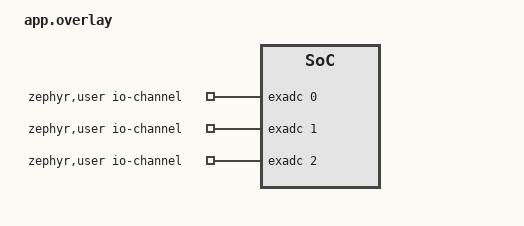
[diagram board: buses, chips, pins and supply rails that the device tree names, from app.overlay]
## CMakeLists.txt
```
# SPDX-License-Identifier: Apache-2.0

cmake_minimum_required(VERSION 3.20.0)

set(SUPPORT_BOARDS csk6_duomotai_devkit)
if(NOT ${BOARD} IN_LIST SUPPORT_BOARDS)
    message("Please choose one of the following boards:")
    foreach(item ${SUPPORT_BOARDS})
        message(STATUS ${item})
    endforeach()
    message(FATAL_ERROR "\nThe project does not support the ${BOARD}")
endif()

find_package(Zephyr HINTS $ENV{ZEPHYR_BASE})
project(exmcu_adc)

target_sources(app PRIVATE src/main.c)
```

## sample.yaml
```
sample:
  name: EXMCU ADC sample
tests:
  csk.samples.driver.exmcu_adc:
    platform_allow: csk6_duomotai_devkit
    tags: csk6
    build_only: true
```

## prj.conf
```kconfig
CONFIG_ADC=y
CONFIG_ADC_CSK6_CH32V003=y
CONFIG_I2C_CSK6=y
CONFIG_I2C=y
```

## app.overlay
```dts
/ {
    /**
    * 
    * external adc channel map
    *
    * CH0 --> PA2
    * CH1 --> PA1
    * CH2 --> PC4
    * CH3 --> PD2
    * CH4 --> PD3
    * CH5 --> PD5
    * CH6 --> PD6
    * CH7 --> PD4
    *
    */

    zephyr,user {
        /* this sample use ch0 ch1 ch2 */
        io-channels = <&exadc 0>, <&exadc 1>, <&exadc 2>;
    };
};
```

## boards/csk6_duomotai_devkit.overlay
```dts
/*
 * Copyright (c) 2023 Anhui(Shenzhen) Listenai Co., Ltd.
 *
 * SPDX-License-Identifier: Apache-2.0
 */
 
/ {
    /**
    * 
    * external adc channel map
    *
    * CH0 --> PA2
    * CH1 --> PA1
    * CH2 --> PC4
    * CH3 --> PD2
    * CH4 --> PD3
    * CH5 --> PD5
    * CH6 --> PD6
    * CH7 --> PD4
    *
    */

    zephyr,user {
        /* this sample use ch0*/
        io-channels = <&exadc 0>;
    };
};
```

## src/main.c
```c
/*
 * Copyright (c) 2023 Anhui(Shenzhen) Listenai Co., Ltd.
 *
 * SPDX-License-Identifier: Apache-2.0
 */

#include <zephyr/drivers/adc.h>
#include <zephyr/sys/printk.h>
#include <zephyr/kernel.h>
#include <zephyr/drivers/gpio.h>

#if !DT_NODE_EXISTS(DT_PATH(zephyr_user)) || !DT_NODE_HAS_PROP(DT_PATH(zephyr_user), io_channels)
#error "No suitable devicetree overlay specified"
#endif

#define ADC_NUM_CHANNELS DT_PROP_LEN(DT_PATH(zephyr_user), io_channels)
#define ADC_NODE DT_PHANDLE(DT_PATH(zephyr_user), io_channels)

/* Common settings supported by most ADCs */
#define ADC_RESOLUTION 10
#define ADC_GAIN       ADC_GAIN_1
#define ADC_REFERENCE  ADC_REF_INTERNAL

/* Get the numbers of up to two channels */
static uint8_t channel_ids[ADC_NUM_CHANNELS] = {
	DT_IO_CHANNELS_INPUT_BY_IDX(DT_PATH(zephyr_user), 0),
#if ADC_NUM_CHANNELS == 2
	DT_IO_CHANNELS_INPUT_BY_IDX(DT_PATH(zephyr_user), 1)
#endif

#if ADC_NUM_CHANNELS == 3
		DT_IO_CHANNELS_INPUT_BY_IDX(DT_PATH(zephyr_user), 1),
	DT_IO_CHANNELS_INPUT_BY_IDX(DT_PATH(zephyr_user), 2)
#endif
};

static int16_t sample_buffer[ADC_NUM_CHANNELS];

struct adc_channel_cfg channel_cfg = {
	.gain = ADC_GAIN_1,
	.reference = ADC_REFERENCE,
	.channel_id = 0,
};

struct adc_sequence sequence = {
	/* individual channels will be added below */
	.channels = 0,
	.buffer = sample_buffer,
	/* buffer size in bytes, not number of samples */
	.buffer_size = sizeof(sample_buffer),
	.resolution = ADC_RESOLUTION,
};

int main(void)
{
	int err;
	const struct device *dev_adc = DEVICE_DT_GET(ADC_NODE);

	printk("ADC Sample start, ch:%d\n", ADC_NUM_CHANNELS);

	if (!device_is_ready(dev_adc)) {
		printk("ADC device not found\n");
		return 0;
	}

	/*
	 * Configure channels individually prior to sampling
	 */
	for (uint8_t i = 0; i < ADC_NUM_CHANNELS; i++) {
		channel_cfg.channel_id = channel_ids[i];

		adc_channel_setup(dev_adc, &channel_cfg);

		sequence.channels |= BIT(channel_ids[i]);
	}

	int32_t adc_vref = adc_ref_internal(dev_adc);

	printk("adc_vref %d.\n", adc_vref);

	while (1) {
		/*
		 * Read sequence of channels (fails if not supported by MCU)
		 */
		err = adc_read(dev_adc, &sequence);
		if (err != 0) {
			printk("ADC reading failed with error %d.\n", err);
			return 0;
		}

		for (uint8_t i = 0; i < ADC_NUM_CHANNELS; i++) {
			int32_t raw_value = sample_buffer[i];

			if (adc_vref > 0) {
				/*
				 * Convert raw reading to millivolts if driver
				 * supports reading of ADC reference voltage
				 */
				int32_t mv_value = raw_value;

				adc_raw_to_millivolts(adc_vref, ADC_GAIN_1, ADC_RESOLUTION,
						      &mv_value);
				printk(" adc(%d)= %d mV  ", raw_value, mv_value);
			}
		}

		printk("\n");

		k_sleep(K_MSEC(1000));
	}
}
```
